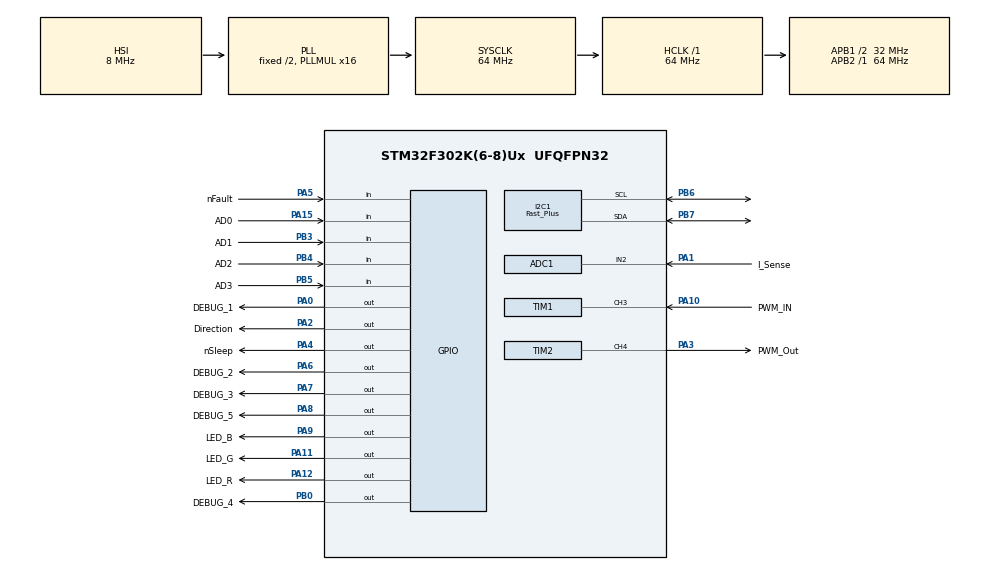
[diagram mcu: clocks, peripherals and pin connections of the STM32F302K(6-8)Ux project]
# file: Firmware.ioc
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ADC1.Channel-2\#ChannelRegularConversion=ADC_CHANNEL_2
ADC1.DMAContinuousRequests=ENABLE
ADC1.ExternalTrigConv=ADC_EXTERNALTRIGCONV_T2_TRGO
ADC1.ExternalTrigConvEdge=ADC_EXTERNALTRIGCONVEDGE_RISING
ADC1.NbrOfConversionFlag=1
ADC1.Offset-2\#ChannelRegularConversion=0
ADC1.OffsetNumber-2\#ChannelRegularConversion=ADC_OFFSET_NONE
ADC1.Rank-2\#ChannelRegularConversion=1
ADC1.Resolution=ADC_RESOLUTION_12B
ADC1.SamplingTime-2\#ChannelRegularConversion=ADC_SAMPLETIME_7CYCLES_5
ADC1.SamplingTimeOPAMP-2\#ChannelRegularConversion=ADC_SAMPLETIME_61CYCLES_5
ADC1.SubFamily=STM32F302x8
ADC1.master=1
Dma.ADC1.0.Direction=DMA_PERIPH_TO_MEMORY
Dma.ADC1.0.Instance=DMA1_Channel1
Dma.ADC1.0.MemDataAlignment=DMA_MDATAALIGN_HALFWORD
Dma.ADC1.0.MemInc=DMA_MINC_ENABLE
Dma.ADC1.0.Mode=DMA_CIRCULAR
Dma.ADC1.0.PeriphDataAlignment=DMA_PDATAALIGN_HALFWORD
Dma.ADC1.0.PeriphInc=DMA_PINC_DISABLE
Dma.ADC1.0.Priority=DMA_PRIORITY_LOW
Dma.Request0=ADC1
FREERTOS.INCLUDE_vTaskDelayUntil=1
FREERTOS.Tasks01=defaultTask,0,64,StartDefaultTask,Default,NULL,Dynamic,NULL,NULL
FREERTOS.configMINIMAL_STACK_SIZE=64
FREERTOS.configTICK_RATE_HZ=1000
FREERTOS.configTOTAL_HEAP_SIZE=1024
I2C1.DualAddressMode=I2C_DUALADDRESS_ENABLE
I2C1.I2C_Fall_Time=0
I2C1.I2C_Rise_Time=0
I2C1.I2C_Speed_Mode=I2C_Fast_Plus
I2C1.NoStretchMode=I2C_NOSTRETCH_ENABLE
I2C1.OwnAddress=I2C_Address
I2C1.OwnAddress2=(I2C_ADDRESS_BASE + 16) << 1
I2C1.Timing=0x00000001
Mcu.Family=STM32F3
Mcu.Name=STM32F302K(6-8)Ux
Mcu.Package=UFQFPN32
NVIC.ADC1_IRQn=true\:5\:0\:true\:false\:true\:true\:true\:true\:true
NVIC.DMA1_Channel1_IRQn=true\:5\:0\:true\:false\:true\:true\:false\:true\:true
NVIC.I2C1_ER_IRQn=true\:5\:0\:false\:false\:true\:true\:true\:true\:true
NVIC.I2C1_EV_IRQn=true\:5\:0\:true\:false\:true\:true\:true\:true\:true
NVIC.PriorityGroup=NVIC_PRIORITYGROUP_4
NVIC.TIM1_CC_IRQn=true\:7\:0\:true\:false\:false\:false\:true\:false\:true
NVIC.TIM1_TRG_COM_TIM17_IRQn=true\:5\:0\:false\:false\:true\:false\:false\:true\:true
NVIC.TIM2_IRQn=true\:6\:0\:true\:false\:true\:false\:true\:true\:true
NVIC.TIM6_DAC_IRQn=true\:0\:0\:false\:false\:true\:false\:false\:true\:true
NVIC.TimeBase=TIM6_DAC_IRQn
NVIC.TimeBaseIP=TIM6
PA0.GPIO_Label=DEBUG_1
PA0.GPIO_PuPd=GPIO_PULLDOWN
PA0.GPIO_Speed=GPIO_SPEED_FREQ_HIGH
PA0.Signal=GPIO_Output
PA1.GPIO_Label=I_Sense
PA1.Mode=IN2-Single-Ended
PA1.Signal=ADC1_IN2
PA10.GPIO_Label=PWM_IN
PA10.Signal=S_TIM1_CH3
PA11.GPIO_Label=LED_G
PA11.Signal=GPIO_Output
PA12.GPIO_Label=LED_R
PA12.Signal=GPIO_Output
PA13.Mode=Serial_Wire
PA13.Signal=SYS_JTMS-SWDIO
PA14.Mode=Serial_Wire
PA14.Signal=SYS_JTCK-SWCLK
PA15.GPIO_Label=AD0
PA15.GPIO_PuPd=GPIO_PULLDOWN
PA15.Signal=GPIO_Input
PA2.GPIO_Label=Direction
PA2.Signal=GPIO_Output
PA3.GPIO_Label=PWM_Out
PA3.Signal=S_TIM2_CH4
PA4.GPIO_Label=nSleep
PA4.GPIO_PuPd=GPIO_PULLDOWN
PA4.Signal=GPIO_Output
PA5.GPIO_Label=nFault
PA5.Signal=GPIO_Input
PA6.GPIO_Label=DEBUG_2
PA6.GPIO_PuPd=GPIO_PULLDOWN
PA6.GPIO_Speed=GPIO_SPEED_FREQ_HIGH
PA6.Signal=GPIO_Output
PA7.GPIO_Label=DEBUG_3
PA7.GPIO_PuPd=GPIO_PULLDOWN
PA7.GPIO_Speed=GPIO_SPEED_FREQ_HIGH
PA7.Signal=GPIO_Output
PA8.GPIO_Label=DEBUG_5
PA8.GPIO_PuPd=GPIO_PULLDOWN
PA8.GPIO_Speed=GPIO_SPEED_FREQ_HIGH
PA8.Signal=GPIO_Output
PA9.GPIO_Label=LED_B
PA9.Signal=GPIO_Output
PB0.GPIO_Label=DEBUG_4
PB0.GPIO_PuPd=GPIO_PULLDOWN
PB0.GPIO_Speed=GPIO_SPEED_FREQ_HIGH
PB0.Signal=GPIO_Output
PB3.GPIO_Label=AD1
PB3.GPIO_PuPd=GPIO_PULLDOWN
PB3.Signal=GPIO_Input
PB4.GPIO_Label=AD2
PB4.GPIO_PuPd=GPIO_PULLDOWN
PB4.Signal=GPIO_Input
PB5.GPIO_Label=AD3
PB5.GPIO_PuPd=GPIO_PULLDOWN
PB5.Signal=GPIO_Input
PB6.GPIO_Pu=GPIO_NOPULL
PB6.Mode=I2C
PB6.Signal=I2C1_SCL
PB7.GPIO_Pu=GPIO_NOPULL
PB7.Mode=I2C
PB7.Signal=I2C1_SDA
ProjectManager.HeapSize=0x200
ProjectManager.StackSize=0x400
ProjectManager.TargetToolchain=Makefile
RCC.AHBFreq_Value=64000000
RCC.APB1CLKDivider=RCC_HCLK_DIV2
RCC.APB1Freq_Value=32000000
RCC.APB1TimFreq_Value=64000000
RCC.APB2Freq_Value=64000000
RCC.APB2TimFreq_Value=64000000
RCC.CortexFreq_Value=64000000
RCC.HCLKFreq_Value=64000000
RCC.HSE_VALUE=8000000
RCC.HSI_VALUE=8000000
RCC.PLLMUL=RCC_PLL_MUL16
RCC.SYSCLKFreq_VALUE=64000000
RCC.SYSCLKSourceVirtual=RCC_SYSCLKSOURCE_PLLCLK
RCC.USBFreq_Value=64000000
SH.S_TIM1_CH3.0=TIM1_CH3,Input_Capture3_from_TI3
SH.S_TIM1_CH3.1=TIM1_CH3,Input_Capture4_from_TI3
SH.S_TIM2_CH4.0=TIM2_CH4,PWM Generation4 CH4
TIM1.Channel-Input_Capture3_from_TI3=TIM_CHANNEL_3
TIM1.Channel-Input_Capture4_from_TI3=TIM_CHANNEL_4
TIM1.ICPolarity_CH4=TIM_INPUTCHANNELPOLARITY_FALLING
TIM1.Period=65535
TIM1.Prescaler=0
TIM2.Channel-PWM\ Generation2\ No\ Output=TIM_CHANNEL_2
TIM2.Channel-PWM\ Generation4\ CH4=TIM_CHANNEL_4
TIM2.Period=1000
TIM2.Prescaler=0
TIM2.Pulse-PWM\ Generation2\ No\ Output=100
TIM2.Pulse-PWM\ Generation4\ CH4=1
TIM2.TIM_MasterOutputTrigger=TIM_TRGO_UPDATE
VP_FREERTOS_VS_CMSIS_V1.Mode=CMSIS_V1
VP_SYS_VS_tim6.Mode=TIM6
VP_TIM2_VS_no_output2.Mode=PWM Generation2 No Output
board=custom

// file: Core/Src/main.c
/* USER CODE BEGIN Header */
/**
  ******************************************************************************
  * @file           : main.c
  * @brief          : Main program body
  ******************************************************************************
  * @attention
  *
  * <h2><center>&copy; Copyright (c) 2020 STMicroelectronics.
  * All rights reserved.</center></h2>
  *
  * This software component is licensed by ST under Ultimate Liberty license
  * SLA0044, the "License"; You may not use this file except in compliance with
  * the License. You may obtain a copy of the License at:
  *                             www.st.com/SLA0044
  *
  ******************************************************************************
  */
/* USER CODE END Header */
#include "main.h"
#include "cmsis_os.h"
#include "adc.h"
#include "dma.h"
#include "i2c.h"
#include "tim.h"
#include "gpio.h"

void SystemClock_Config(void);
void MX_FREERTOS_Init(void);

int main(void)
{

  /* MCU Configuration--------------------------------------------------------*/

  /* Reset of all peripherals, Initializes the Flash interface and the Systick. */
  HAL_Init();

  /* Configure the system clock */
  SystemClock_Config();

  /* Initialize all configured peripherals */
  MX_GPIO_Init();
  MX_DMA_Init();
  MX_I2C1_Init();
  MX_TIM1_Init();
  MX_TIM2_Init();
  MX_ADC1_Init();
  /* USER CODE BEGIN 2 */
  init_data();
  init_led();
  init_driver();
  init_encoder();
//  enable_CPU_count();
  /* USER CODE END 2 */

  /* Call init function for freertos objects (in freertos.c) */
  MX_FREERTOS_Init();

  /* Start scheduler */
  osKernelStart();

  /* We should never get here as control is now taken by the scheduler */
  /* Infinite loop */
  while (1)
  {

  }
}

void SystemClock_Config(void)
{
  RCC_OscInitTypeDef RCC_OscInitStruct = {0};
  RCC_ClkInitTypeDef RCC_ClkInitStruct = {0};
  RCC_PeriphCLKInitTypeDef PeriphClkInit = {0};

  /** Initializes the RCC Oscillators according to the specified parameters
  * in the RCC_OscInitTypeDef structure.
  */
  RCC_OscInitStruct.OscillatorType = RCC_OSCILLATORTYPE_HSI;
  RCC_OscInitStruct.HSIState = RCC_HSI_ON;
  RCC_OscInitStruct.HSICalibrationValue = RCC_HSICALIBRATION_DEFAULT;
  RCC_OscInitStruct.PLL.PLLState = RCC_PLL_ON;
  RCC_OscInitStruct.PLL.PLLSource = RCC_PLLSOURCE_HSI;
  RCC_OscInitStruct.PLL.PLLMUL = RCC_PLL_MUL16;
  if (HAL_RCC_OscConfig(&RCC_OscInitStruct) != HAL_OK)
  {
    Error_Handler();
  }

  /** Initializes the CPU, AHB and APB buses clocks
  */
  RCC_ClkInitStruct.ClockType = RCC_CLOCKTYPE_HCLK|RCC_CLOCKTYPE_SYSCLK
                              |RCC_CLOCKTYPE_PCLK1|RCC_CLOCKTYPE_PCLK2;
  RCC_ClkInitStruct.SYSCLKSource = RCC_SYSCLKSOURCE_PLLCLK;
  RCC_ClkInitStruct.AHBCLKDivider = RCC_SYSCLK_DIV1;
  RCC_ClkInitStruct.APB1CLKDivider = RCC_HCLK_DIV2;
  RCC_ClkInitStruct.APB2CLKDivider = RCC_HCLK_DIV1;

  if (HAL_RCC_ClockConfig(&RCC_ClkInitStruct, FLASH_LATENCY_2) != HAL_OK)
  {
    Error_Handler();
  }
  PeriphClkInit.PeriphClockSelection = RCC_PERIPHCLK_I2C1|RCC_PERIPHCLK_TIM1
                              |RCC_PERIPHCLK_ADC1;
  PeriphClkInit.I2c1ClockSelection = RCC_I2C1CLKSOURCE_HSI;
  PeriphClkInit.Tim1ClockSelection = RCC_TIM1CLK_HCLK;
  PeriphClkInit.Adc1ClockSelection = RCC_ADC1PLLCLK_DIV1;

  if (HAL_RCCEx_PeriphCLKConfig(&PeriphClkInit) != HAL_OK)
  {
    Error_Handler();
  }
}

void HAL_TIM_PeriodElapsedCallback(TIM_HandleTypeDef *htim)
{
  if (htim->Instance == TIM6) {
    HAL_IncTick();
  }
}

void Error_Handler(void)
{
}

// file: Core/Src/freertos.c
/* USER CODE BEGIN Header */
/**
  ******************************************************************************
  * File Name          : freertos.c
  * Description        : Code for freertos applications
  ******************************************************************************
  * @attention
  *
  * <h2><center>&copy; Copyright (c) 2020 STMicroelectronics.
  * All rights reserved.</center></h2>
  *
  * This software component is licensed by ST under Ultimate Liberty license
  * SLA0044, the "License"; You may not use this file except in compliance with
  * the License. You may obtain a copy of the License at:
  *                             www.st.com/SLA0044
  *
  ******************************************************************************
  */
/* USER CODE END Header */

#include "FreeRTOS.h"
#include "task.h"
#include "main.h"
#include "cmsis_os.h"

/* USER CODE BEGIN Includes */
#include "data.h"
#include "led.h"
#include "control.h"

/* USER CODE END Includes */

osThreadId defaultTaskHandle;

void StartDefaultTask(void const * argument);

void MX_FREERTOS_Init(void); /* (MISRA C 2004 rule 8.1) */

/* GetIdleTaskMemory prototype (linked to static allocation support) */
void vApplicationGetIdleTaskMemory( StaticTask_t **ppxIdleTaskTCBBuffer, StackType_t **ppxIdleTaskStackBuffer, uint32_t *pulIdleTaskStackSize );

/* USER CODE BEGIN GET_IDLE_TASK_MEMORY */
static StaticTask_t xIdleTaskTCBBuffer;
static StackType_t xIdleStack[configMINIMAL_STACK_SIZE];

void vApplicationGetIdleTaskMemory( StaticTask_t **ppxIdleTaskTCBBuffer, StackType_t **ppxIdleTaskStackBuffer, uint32_t *pulIdleTaskStackSize )
{
  *ppxIdleTaskTCBBuffer = &xIdleTaskTCBBuffer;
  *ppxIdleTaskStackBuffer = &xIdleStack[0];
  *pulIdleTaskStackSize = configMINIMAL_STACK_SIZE;
  /* place for user code */
}
/* USER CODE END GET_IDLE_TASK_MEMORY */

void MX_FREERTOS_Init(void) {

  /* Create the thread(s) */
  /* definition and creation of defaultTask */
  osThreadDef(defaultTask, StartDefaultTask, osPriorityNormal, 0, 64);
  defaultTaskHandle = osThreadCreate(osThread(defaultTask), NULL);

}

/* USER CODE BEGIN Header_StartDefaultTask */

uint16_t turns, pwm_value, dir, step;
uint8_t buf;
#include "i2c.h"

//#define MASTER

/**
  * @brief  Function implementing the defaultTask thread.
  * @param  argument: Not used
  * @retval None
  */
/* USER CODE END Header_StartDefaultTask */
void StartDefaultTask(void const * argument)
{
  /* USER CODE BEGIN StartDefaultTask */
	structured_data_t *sdata = &data_register.s;
    const TickType_t xFrequency = pdMS_TO_TICKS(30); // period for task loop
    TickType_t xLastWakeTime = xTaskGetTickCount();
    TaskHandle_t positionLoopTaskHandle = NULL;

	// Variables that hold previous states of configs
	uint8_t prev_enable_motor = sdata->enable_motor;

	sdata->led_mode = LED_MODE_HEARTBEAT_G;
	/* Infinite loop */
	for(;;)
	{
		if(prev_enable_motor != sdata->enable_motor){
			prev_enable_motor = sdata->enable_motor;
			if(sdata->enable_motor){
				enable_driver();
				positionLoopStart(&positionLoopTaskHandle);
			} else {
				disable_driver();
				positionLoopStop(&positionLoopTaskHandle);
			}
		}
		// Sleep till next time
		vTaskDelayUntil(&xLastWakeTime, xFrequency);
	}
  /* USER CODE END StartDefaultTask */
}
